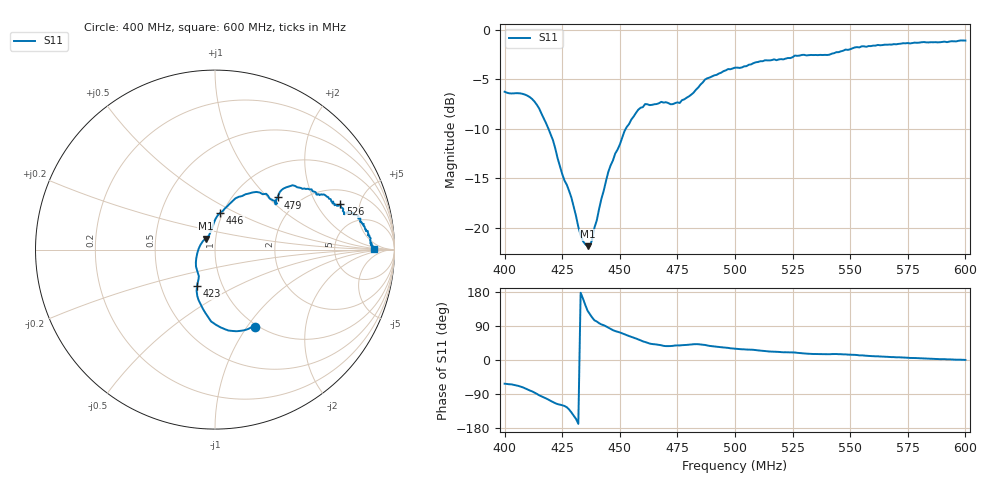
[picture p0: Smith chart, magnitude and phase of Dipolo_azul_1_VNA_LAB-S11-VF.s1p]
! Version 1.0
! Name  :	Dipolo_azul_1_VNA_LAB-S11-VF.s1p
! Measurement : [new]
! Date  :	07-05-26 11:51:14
! Generated by:	MiQVNA
# HZ S DB R 50
! Freq	ReS11	ImS11
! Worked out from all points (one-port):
!   201 points, 400 MHz to 600 MHz, reference 50 ohm
!   lowest |S11| = -21.9 dB at 436 MHz (marker M1), VSWR 1.18, Z = 44.7 + j5.55 ohm
!   |S11| at or under -10 dB: 419 MHz to 452.6 MHz (33.55 MHz wide, 7.7 % of centre)
!   S11 on the Smith chart (normalised r, x): 400 MHz: 0.97, -1.10; 423 MHz: 0.76, -0.32; 446 MHz: 0.97, +0.42; 479 MHz: 1.56, +1.14; 526 MHz: 2.91, +3.27; 600 MHz: 16, +1
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4e8  -6.25 -62.5
4.06e8  -6.39 -68.4
4.13e8  -7.25 -86.0
4.19e8  -9.98 -104.5
4.23e8  -12.97 -116.4
4.25e8  -14.58 -119.3
4.29e8  -16.97 -138.4
4.33e8  -20.77 177.5
4.36e8  -21.88 130.1
4.38e8  -21.20 112.1
4.46e8  -13.71 81.9
4.5e8  -11.60 72.8
4.55e8  -9.06 61.1
4.61e8  -7.49 47.5
4.7e8  -7.31 36.6
4.75e8  -7.32 38.5
4.79e8  -6.85 39.8
4.82e8  -6.34 41.6
4.87e8  -5.01 39.7
5e8  -3.81 29.8
5.13e8  -3.06 23.6
5.25e8  -2.75 19.6
5.26e8  -2.58 19.8
5.34e8  -2.53 15.8
5.41e8  -2.49 15.2
5.5e8  -1.94 14.0
5.75e8  -1.32 6.0
6e8  -1.06 0.3
